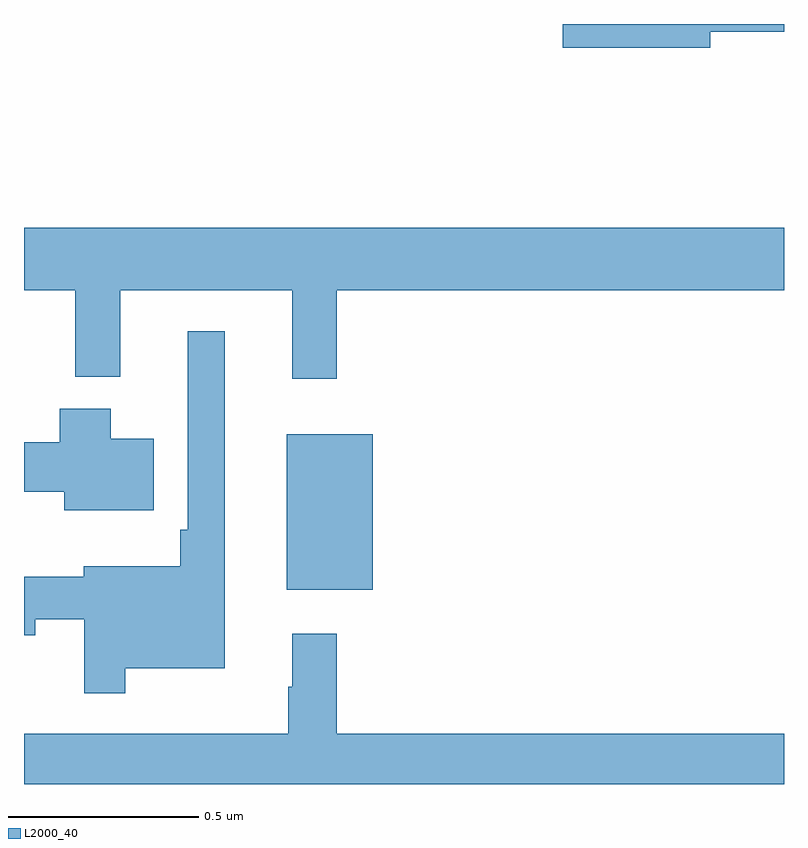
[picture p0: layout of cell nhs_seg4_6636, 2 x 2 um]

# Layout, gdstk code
import gdstk
lib = gdstk.Library(unit=1e-6, precision=1e-09)
def R(c, l, rs):  # rectangles x0, y0, x1, y1
    for r in rs: c.add(gdstk.rectangle(r[:2], r[2:], *l))
def P(c, l, *ps):  # polygons
    for p in ps: c.add(gdstk.Polygon(p, *l))
L2000_40 = (2000, 40)

nhs_seg4_6636 = lib.new_cell('nhs_seg4_6636')
R(nhs_seg4_6636, L2000_40, [(193.691,749.411,193.918,749.821)])
P(nhs_seg4_6636, L2000_40, [(194.806,750.88),(195,750.88),(195,750.9),(194.418,750.9),(194.418,750.838),(194.806,750.838)],
  [(193,750.2),(193.135,750.2),(193.135,749.972),(193.253,749.972),(193.253,750.2),(193.706,750.2),(193.706,749.967),(193.823,749.967),(193.823,750.2),(195,750.2),(195,750.364),(193,750.364)],
  [(193.267,749.204),(193.528,749.204),(193.528,750.091),(193.431,750.091),(193.431,749.569),(193.411,749.569),(193.411,749.473),(193.157,749.473),(193.157,749.445),(193,749.445),(193,749.291),(193.03,749.291),(193.03,749.334),(193.158,749.334),(193.158,749.139),(193.267,749.139)],
  [(193.342,749.809),(193.228,749.809),(193.228,749.887),(193.094,749.887),(193.094,749.799),(193,749.799),(193,749.669),(193.106,749.669),(193.106,749.621),(193.342,749.621)],
  [(195,749.032),(193.823,749.032),(193.823,749.296),(193.706,749.296),(193.706,749.156),(193.695,749.156),(193.695,749.032),(193,749.032),(193,748.9),(195,748.9)])

lib.write_gds('nhs_seg4_6636.gds')
